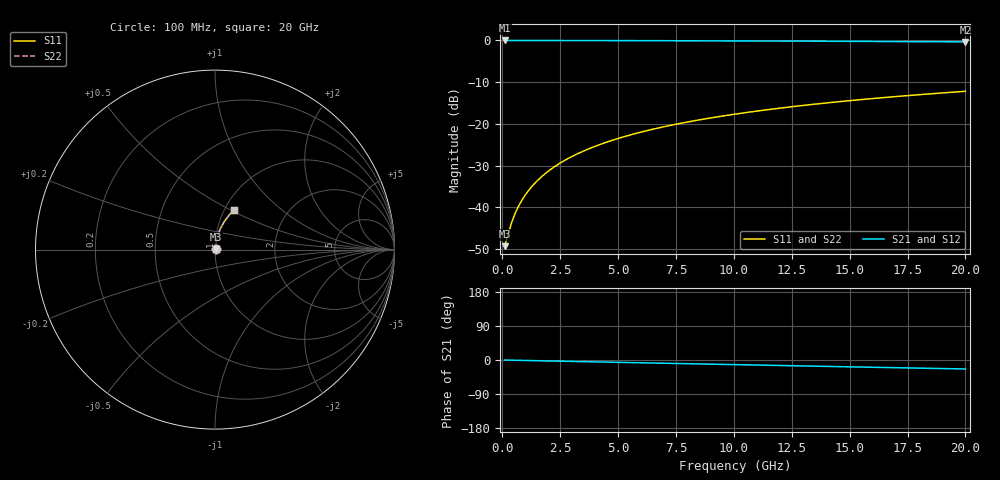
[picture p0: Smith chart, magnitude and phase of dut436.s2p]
! Touchstone file exported from HFSS 2026.1.0
!  File:  C:/ffzhzh/LocalFiles/Ansys_Project_Files/temp_train_BSMRDL_436_1783013008_53980.aedt
!  Generated:  01:24:47 AM Jul  3, 2026
!  Design:  BSMRDL
!  Project:  temp_train_BSMRDL_436_1783013008_53980
! Variables:
!  h_bsmrdl = 3.63um
!  h_ox = 20um
!  h_rdl = 5um
!  h_sub = 80um
!  h_tmrdl = 5um
!  h_tsv = 80um
!  h_via = 3um
!  l_bsmrdl = 327.05um
!  l_sub = 727.05um
!  l_tmrdl = 200um
!  m_sub = 200um
!  pitch = 28.75um
!  r_tsv = 6um
!  s_tmrdl = 10um
!  w_bsmrdl = 10.54um
!  w_sub = 500um
!  w_tmrdl = 12um
!  x_tsv_center1 = 206um
!  x_tsv_center2 = 543.59um
!  x_tsv_center3 = 755.59um
!  x_tsv_center4 = 1093.18um
!  x_tsv_center5 = 1305.18um
!  x_tsv_center6 = 1642.77um
# GHz S MA R 50.000000
! Terminal data exported
! Port[1] = BSM_RDL1_1_T1
! Port[2] = BSM_RDL1_1_T2
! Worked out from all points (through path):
!   200 points, 100 MHz to 20 GHz, reference 50 ohm
!   highest |S21| = -0.03 dB at 100 MHz (marker M1); lowest = -0.4 dB at 20 GHz (marker M2)
!   group delay of S21, straight-line fit = 3.29 ps
!   lowest |S11| = -49.3 dB at 100 MHz (marker M3), VSWR 1.01, Z = 50.3 + j0.144 ohm
!   |S11| at or under -10 dB: start of sweep to end of sweep
!   |S22| runs from -49.3 to -12.2 dB; largest |S21 - S12| = 2e-15
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0.1  0.003438 24.6  0.9969 -0.1  0.9969 -0.1  0.003438 24.6
! Gamma 0 0 0 0
! Port Impedance 50 0 50 0
0.3  0.005343 52.6  0.9968 -0.4  0.9968 -0.4  0.005343 52.6
0.4  0.006534 59.4  0.9967 -0.5  0.9967 -0.5  0.006534 59.4
0.5  0.007774 63.9  0.9966 -0.6  0.9966 -0.6  0.007774 63.9
0.6  0.009038 67.2  0.9966 -0.8  0.9966 -0.8  0.009038 67.2
0.7  0.01032 69.6  0.9965 -0.9  0.9965 -0.9  0.01032 69.6
0.9  0.0129 73.0  0.9964 -1.1  0.9964 -1.1  0.0129 73.0
1.2  0.01681 76.0  0.9962 -1.5  0.9962 -1.5  0.01681 76.0
1.4  0.01943 77.3  0.9961 -1.8  0.9961 -1.8  0.01943 77.3
1.7  0.02338 78.6  0.996 -2.1  0.996 -2.1  0.02338 78.6
2.2  0.03 79.8  0.9957 -2.7  0.9957 -2.7  0.03 79.8
2.8  0.03795 80.4  0.9952 -3.5  0.9952 -3.5  0.03795 80.4
3.5  0.04721 80.4  0.9946 -4.3  0.9946 -4.3  0.04721 80.4
4.2  0.05642 80.2  0.9939 -5.2  0.9939 -5.2  0.05642 80.2
5  0.06689 79.6  0.9929 -6.2  0.9929 -6.2  0.06689 79.6
5.9  0.07856 78.9  0.9917 -7.3  0.9917 -7.3  0.07856 78.9
6.8  0.09011 78.0  0.9903 -8.4  0.9903 -8.4  0.09011 78.0
8.3  0.1091 76.5  0.9877 -10.2  0.9877 -10.2  0.1091 76.5
10.1  0.1314 74.6  0.9842 -12.3  0.9842 -12.3  0.1314 74.6
13.4  0.1711 71.0  0.9768 -16.2  0.9768 -16.2  0.1711 71.0
16.7  0.2091 67.4  0.9684 -20.0  0.9684 -20.0  0.2091 67.4
20  0.2454 63.9  0.9591 -23.7  0.9591 -23.7  0.2454 63.9
